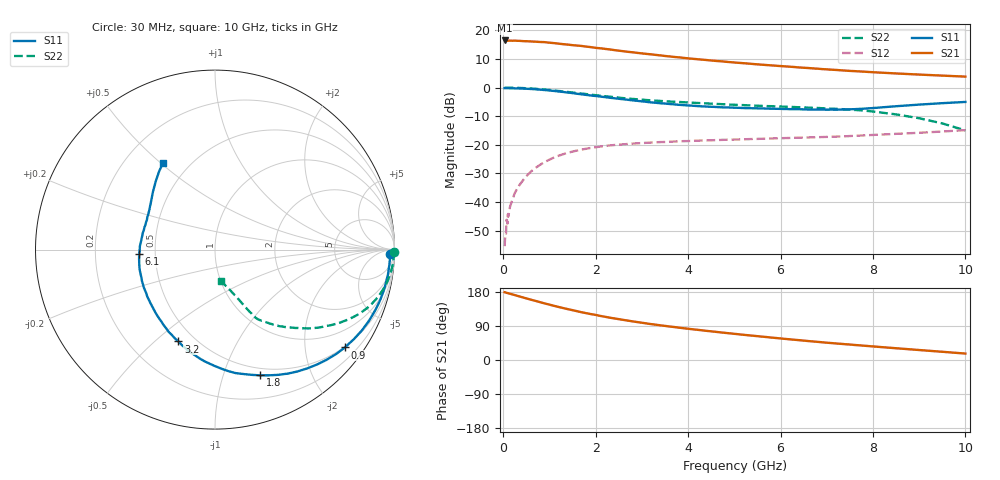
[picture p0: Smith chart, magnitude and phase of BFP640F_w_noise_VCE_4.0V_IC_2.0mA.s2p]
! Infineon Technologies  Discrete & RF Semiconductors
! BFP640F
! VCE =  4.0 V,  IC =  2.0 mA
! Common Emitter S-Parameters:  Apr 2013
# GHz  S  MA  R  50
!  f  S11  S21  S12  S22
! GHz  MAG  ANG  MAG  ANG  MAG  ANG  MAG  ANG
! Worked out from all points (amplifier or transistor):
!   99 points, 30 MHz to 10 GHz, reference 50 ohm
!   highest |S21| = 16.5 dB at 30 MHz (marker M1)
!   |S21| within 3 dB of that: start of sweep to 2.232 GHz
!   unconditionally stable (mu >= 1): 5.604 GHz to end of sweep
!   at 350 MHz: K = 0.04, MSG = 25.2 dB, |S12| = -34.1 dB
!   at 3.5 GHz: K = 0.69, MSG = 15.0 dB, |S12| = -19.0 dB
!   at 10 GHz: K = 1.22, MAG = 6.5 dB, |S12| = -14.9 dB
!   lowest NFmin = 0.46 dB at 450 MHz
!   S11 on the Smith chart (normalised r, x): 30 MHz: 44, -44; 900 MHz: 0.48, -2.92; 1.8 GHz: 0.42, -1.33; 3.2 GHz: 0.41, -0.60; 6.1 GHz: 0.41, -0.02; 10 GHz: 0.36, +0.51
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0.03  0.9773 -1.3  6.657 178.8  0.0017 85.5  0.9977 -0.7
0.04  0.9775 -1.7  6.448 178.5  0.0023 59.8  0.9973 -0.8
0.05  0.9775 -2.1  6.603 178.3  0.0028 60.1  0.9975 -1.1
0.06  0.9751 -2.5  6.558 177.7  0.0028 63.8  0.9975 -1.3
0.07  0.976 -2.9  6.585 177.4  0.0049 78.7  0.9984 -1.5
0.09  0.9763 -3.7  6.574 176.7  0.0042 90.3  0.998 -1.9
0.1  0.975 -4.1  6.576 176.5  0.0061 83.4  0.9967 -2.2
0.25  0.9704 -10.3  6.613 171.3  0.0144 84.6  0.9923 -5.5
0.6  0.9455 -24.7  6.398 159.1  0.0342 77.5  0.9645 -13.0
0.9  0.9059 -37.0  6.221 149.2  0.0504 70.7  0.9247 -19.0
1.2  0.8557 -48.5  5.853 139.9  0.0646 63.4  0.874 -24.5
1.7  0.7616 -66.9  5.331 125.9  0.0828 53.6  0.7858 -31.9
1.8  0.7447 -70.2  5.195 123.5  0.0857 51.9  0.7698 -33.2
2.4  0.6516 -89.5  4.524 109.8  0.0993 43.0  0.6808 -40.2
3.2  0.5509 -111.8  3.809 94.7  0.1097 35.6  0.5994 -46.4
3.4  0.5327 -116.9  3.651 91.5  0.1118 34.3  0.5849 -47.6
4.2  0.4756 -136.2  3.132 79.7  0.1183 30.4  0.5386 -51.4
5.1  0.4431 -156.6  2.704 67.8  0.1244 27.6  0.4971 -54.7
6.1  0.4228 -176.7  2.35 55.7  0.1313 25.8  0.4634 -57.7
6.7  0.4134 171.0  2.165 48.9  0.1354 25.1  0.4437 -59.1
8.5  0.4726 137.0  1.766 31.0  0.1557 24.5  0.3404 -63.0
10  0.5616 121.3  1.555 17.0  0.1808 22.2  0.1786 -79.3
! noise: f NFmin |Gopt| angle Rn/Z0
0.45  0.46  0.63  10  0.28
0.9  0.57  0.59  22  0.27
1.5  0.67  0.58  31  0.27
1.9  0.72  0.54  46  0.26
2.4  0.8  0.51  62  0.26
3.5  0.94  0.43  82  0.25
5.5  1.26  0.36  145  0.24
10  2.23  0.53  -110  0.45
